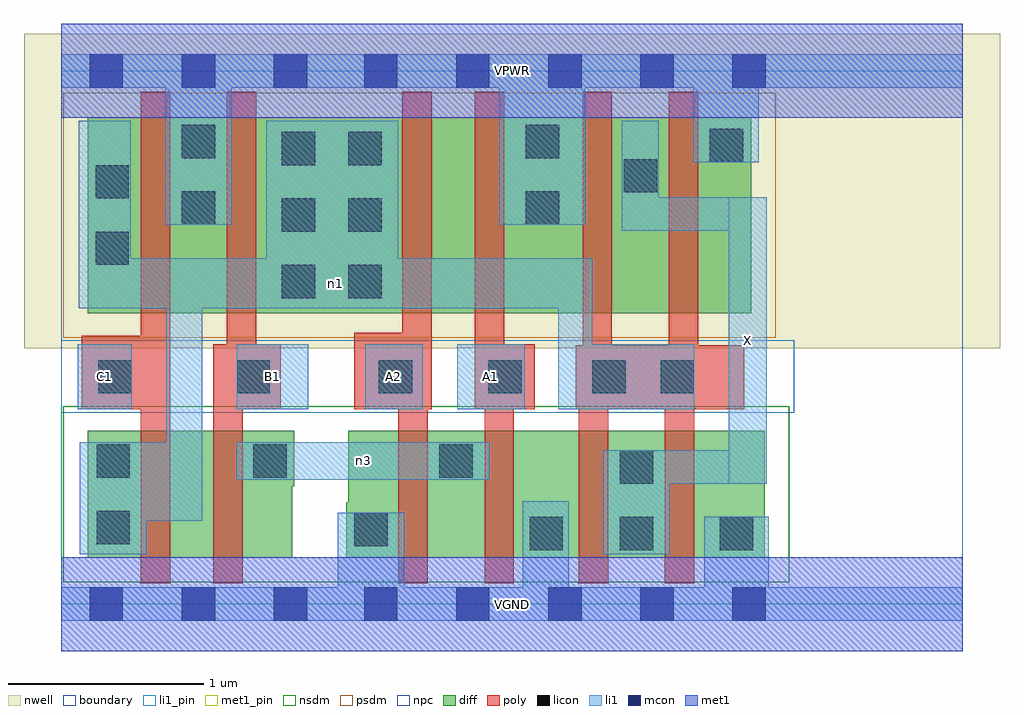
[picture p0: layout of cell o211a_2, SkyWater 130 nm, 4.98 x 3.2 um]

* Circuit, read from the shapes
.subckt o211a_2 A1 A2 B1 C1 VGND VPWR X n1 n3
XM1 n2 C1 n1 VSUBS sky130_fd_pr__nfet_01v8 w=0.65 l=0.15
XM2 n3 B1 n2 VSUBS sky130_fd_pr__nfet_01v8 w=0.65 l=0.15
XM3 n3 A2 VGND VSUBS sky130_fd_pr__nfet_01v8 w=0.65 l=0.15
XM4 VGND A1 n3 VSUBS sky130_fd_pr__nfet_01v8 w=0.65 l=0.15
XM5 X n1 VGND VSUBS sky130_fd_pr__nfet_01v8 w=0.65 l=0.15 m=2
XM6 VPWR C1 n1 n4 sky130_fd_pr__pfet_01v8 w=1 l=0.15
XM7 n1 B1 VPWR n4 sky130_fd_pr__pfet_01v8 w=1 l=0.15
XM8 n5 A2 n1 n4 sky130_fd_pr__pfet_01v8 w=1 l=0.15
XM9 VPWR A1 n5 n4 sky130_fd_pr__pfet_01v8 w=1 l=0.15
XM10 X n1 VPWR n4 sky130_fd_pr__pfet_01v8 w=1 l=0.15 m=2
.ends

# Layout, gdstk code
import gdstk
lib = gdstk.Library(unit=1e-6, precision=1e-09)
def R(c, l, rs):  # rectangles x0, y0, x1, y1
    for r in rs: c.add(gdstk.rectangle(r[:2], r[2:], *l))
def A(c, l, x, y, w, h, nx, ny, dx, dy):  # array of equal rectangles
    R(c, l, [(x+i*dx, y+j*dy, x+i*dx+w, y+j*dy+h) for i in range(nx) for j in range(ny)])
nwell = (64, 20)
diff = (65, 20)
poly = (66, 20)
licon = (66, 44)
li1_pin = (67, 16)
li1 = (67, 20)
mcon = (67, 44)
met1_pin = (68, 16)
met1 = (68, 20)
nsdm = (93, 44)
psdm = (94, 20)
npc = (95, 20)
boundary = (235, 4)

o211a_2 = lib.new_cell('o211a_2')
R(o211a_2, nwell, [(-0.19,1.305,4.79,2.91), (0,1.305,4.6,2.91)])
R(o211a_2, diff, [(0.135,0.235,1.18,0.885), (1.455,0.235,3.59,0.52), (1.465,0.235,3.59,0.885), (0.135,0.6,1.19,0.885), (0.135,1.485,3.52,2.485)])
R(o211a_2, poly, [(0.405,0.105,0.555,2.615), (0.775,0.105,0.925,1.325), (0.845,0.105,0.925,2.615), (1.72,0.105,1.87,1.385), (2.16,0.105,2.31,1.325), (2.64,0.105,2.79,1.32), (3.08,0.105,3.23,1.32), (0.105,0.995,0.555,1.37), (0.775,0.995,1.12,1.325), (0.925,0.995,0.995,2.615), (1.495,0.995,1.89,1.385), (1.74,0.995,1.89,2.615), (2.11,0.995,2.26,2.615), (2.11,0.995,2.415,1.325), (2.625,0.995,3.485,1.32), (2.66,0.995,2.81,2.615), (3.1,0.995,3.25,2.615)])
A(o211a_2, licon, 1.125, 1.56, 0.17, 0.17, 1, 3, 0, 0.34)
A(o211a_2, licon, 1.465, 1.56, 0.17, 0.17, 1, 3, 0, 0.34)
R(o211a_2, licon, [(2.39,0.275,2.56,0.445), (2.85,0.275,3.02,0.445), (3.36,0.275,3.53,0.445), (1.495,0.295,1.665,0.465), (0.18,0.305,0.35,0.475), (2.85,0.615,3.02,0.785), (0.18,0.645,0.35,0.815), (0.98,0.645,1.15,0.815), (1.93,0.645,2.1,0.815), (0.19,1.075,0.36,1.245), (0.895,1.075,1.065,1.245), (1.62,1.075,1.79,1.245), (2.18,1.075,2.35,1.245), (2.71,1.075,2.88,1.245), (3.06,1.075,3.23,1.245), (0.175,1.73,0.345,1.9), (0.615,1.935,0.785,2.105), (2.37,1.935,2.54,2.105), (0.175,2.07,0.345,2.24), (2.87,2.1,3.04,2.27), (3.31,2.255,3.48,2.425), (0.615,2.275,0.785,2.445), (2.37,2.275,2.54,2.445)])
R(o211a_2, li1_pin, [(3.405,0.615,3.6,2.075), (0.085,0.995,0.36,1.325), (0.895,0.995,1.26,1.325), (1.55,0.995,1.845,1.325), (2.02,0.995,2.365,1.325)])
R(o211a_2, li1, [(0,-0.085,4.6,0.085), (1.41,-0.085,1.75,0.465), (2.355,-0.085,2.59,0.525), (3.28,-0.085,3.61,0.445), (0.095,0.255,0.435,0.825), (2.765,0.255,3.105,0.785), (0.095,0.425,0.72,0.825), (0.535,0.425,0.72,1.765), (2.765,0.615,3.6,0.785), (3.405,0.615,3.6,2.075), (0.895,0.635,2.185,0.825), (0.085,0.995,0.36,1.325), (0.895,0.995,1.26,1.325), (1.55,0.995,1.845,1.325), (2.02,0.995,2.365,1.325), (2.535,0.995,3.23,1.325), (2.535,0.995,2.71,1.765), (0.09,1.51,2.71,1.765), (0.09,1.51,0.355,2.465), (1.045,1.51,1.72,2.465), (2.86,1.905,3.05,2.465), (2.86,1.905,3.6,2.075), (0.53,1.935,0.87,2.805), (2.235,1.935,2.675,2.805), (3.225,2.255,3.56,2.805), (0,2.635,4.6,2.805)])
A(o211a_2, mcon, 0.145, -0.085, 0.17, 0.17, 3, 2, 0.47, 2.72)
A(o211a_2, mcon, 1.545, -0.085, 0.17, 0.17, 5, 2, 0.47, 2.72)
R(o211a_2, met1_pin, [(0,-0.24,4.6,0.24), (0,2.48,4.6,2.96)])
R(o211a_2, met1, [(0,-0.24,4.6,0.24), (0,2.48,4.6,2.96)])
R(o211a_2, nsdm, [(0.01,0.11,3.715,1.01)])
R(o211a_2, psdm, [(0.01,1.36,3.645,2.61)])
R(o211a_2, npc, [(0,0.975,3.74,1.345)])
R(o211a_2, boundary, [(0,0,4.6,2.72)])
o211a_2.add(gdstk.Label('A1', (2.192,1.16), layer=67, texttype=5))
o211a_2.add(gdstk.Label('A2', (1.697,1.16), layer=67, texttype=5))
o211a_2.add(gdstk.Label('B1', (1.077,1.16), layer=67, texttype=5))
o211a_2.add(gdstk.Label('C1', (0.222,1.16), layer=67, texttype=5))
o211a_2.add(gdstk.Label('X', (3.502,1.345), layer=67, texttype=5))
o211a_2.add(gdstk.Label('n3', (1.54,0.73), layer=67, texttype=5))
o211a_2.add(gdstk.Label('n1', (1.4,1.637), layer=67, texttype=5))
o211a_2.add(gdstk.Label('VPWR', (2.3,2.72), layer=68, texttype=5))
o211a_2.add(gdstk.Label('VGND', (2.3,0), layer=68, texttype=5))
o211a_2.add(gdstk.Label('A1', (2.192,1.16), layer=67, texttype=16))
o211a_2.add(gdstk.Label('A2', (1.697,1.16), layer=67, texttype=16))
o211a_2.add(gdstk.Label('B1', (1.077,1.16), layer=67, texttype=16))
o211a_2.add(gdstk.Label('C1', (0.222,1.16), layer=67, texttype=16))
o211a_2.add(gdstk.Label('X', (3.502,1.345), layer=67, texttype=16))
o211a_2.add(gdstk.Label('VPWR', (2.3,2.72), layer=68, texttype=16))
o211a_2.add(gdstk.Label('VGND', (2.3,0), layer=68, texttype=16))

lib.write_gds('o211a_2.gds')
